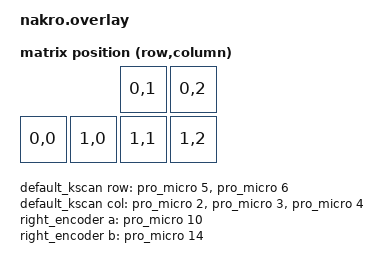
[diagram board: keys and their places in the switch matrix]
#include <dt-bindings/zmk/matrix_transform.h>

/ {
    chosen {
        zephyr,display = &oled;
        zmk,underglow = &led_strip;
        zmk,kscan = &default_kscan;
        zmk,matrix_transform = &default_transform;
    };

    default_kscan: kscan {
        compatible = "zmk,kscan-gpio-matrix";
        label = "default_kscan";
        diode-direction = "col2row";

        row-gpios = <&pro_micro 5 (GPIO_ACTIVE_HIGH | GPIO_PULL_DOWN)>,
                    <&pro_micro 6 (GPIO_ACTIVE_HIGH | GPIO_PULL_DOWN)>;
        
        col-gpios = <&pro_micro 2 GPIO_ACTIVE_HIGH>,
                    <&pro_micro 3 GPIO_ACTIVE_HIGH>,
                    <&pro_micro 4 GPIO_ACTIVE_HIGH>;
    };

    default_transform: matrix_transform {
        compatible = "zmk,matrix-transform";
        rows = <2>;
        columns = <4>;

        map = <
                            RC(0,1) RC(0,2)
            RC(0,0) RC(1,0) RC(1,1) RC(1,2)
        >;
    };

    right_encoder: encoder_right {
        compatible = "alps,ec11";
        label = "RIGHT_ENCODER";
        a-gpios = <&pro_micro 10 (GPIO_ACTIVE_HIGH | GPIO_PULL_UP)>;
        b-gpios = <&pro_micro 14 (GPIO_ACTIVE_HIGH | GPIO_PULL_UP)>;
        steps = <96>;
    };

    sensors {
        compatible = "zmk,keymap-sensors";
        sensors = <&right_encoder>;
        triggers-per-rotation = <24>;
    };
};

&pinctrl {

    i2c0_default: i2c0_default {
        group1 {
            psels = <NRF_PSEL(TWIM_SDA, 0, 11)>,
                <NRF_PSEL(TWIM_SCL, 1, 4)>;
        };
    };

    i2c0_sleep: i2c0_sleep {
        group1 {
            psels = <NRF_PSEL(TWIM_SDA, 0, 11)>,
                <NRF_PSEL(TWIM_SCL, 1, 4)>;
            low-power-enable;
        };
    };

    spi3_default: spi3_default {
        group1 {
            psels = <NRF_PSEL(SPIM_MOSI, 0, 6)>;
        };
    };

    spi3_sleep: spi3_sleep {
        group1 {
            psels = <NRF_PSEL(SPIM_MOSI, 0, 6)>;
            low-power-enable;
        };
    };
};

&pro_micro_i2c {

    status = "okay";

    oled: ssd1306@3c {
        compatible = "solomon,ssd1306fb";
        reg = <0x3c>;
        width = <128>;
        height = <32>;
        segment-offset = <0>;
        page-offset = <0>;
        display-offset = <0>;
        multiplex-ratio = <31>;
        com-sequential;
        inversion-on;
        prechargep = <0x22>;
        };
};

&spi3 {
  compatible = "nordic,nrf-spim";
  status = "okay";

  pinctrl-0 = <&spi3_default>;
  pinctrl-1 = <&spi3_sleep>;
  pinctrl-names = "default", "sleep";

  led_strip: ws2812@0 {
    compatible = "worldsemi,ws2812-spi";

    /* SPI */
    reg = <0>; /* ignored, but necessary for SPI bindings */
    spi-max-frequency = <4000000>;

    /* WS2812 */
    chain-length = <6>; /* number of LEDs */
    spi-one-frame = <0x70>;
    spi-zero-frame = <0x40>;
    color-mapping = <50
                    50
                    50>;
  };
};
    
